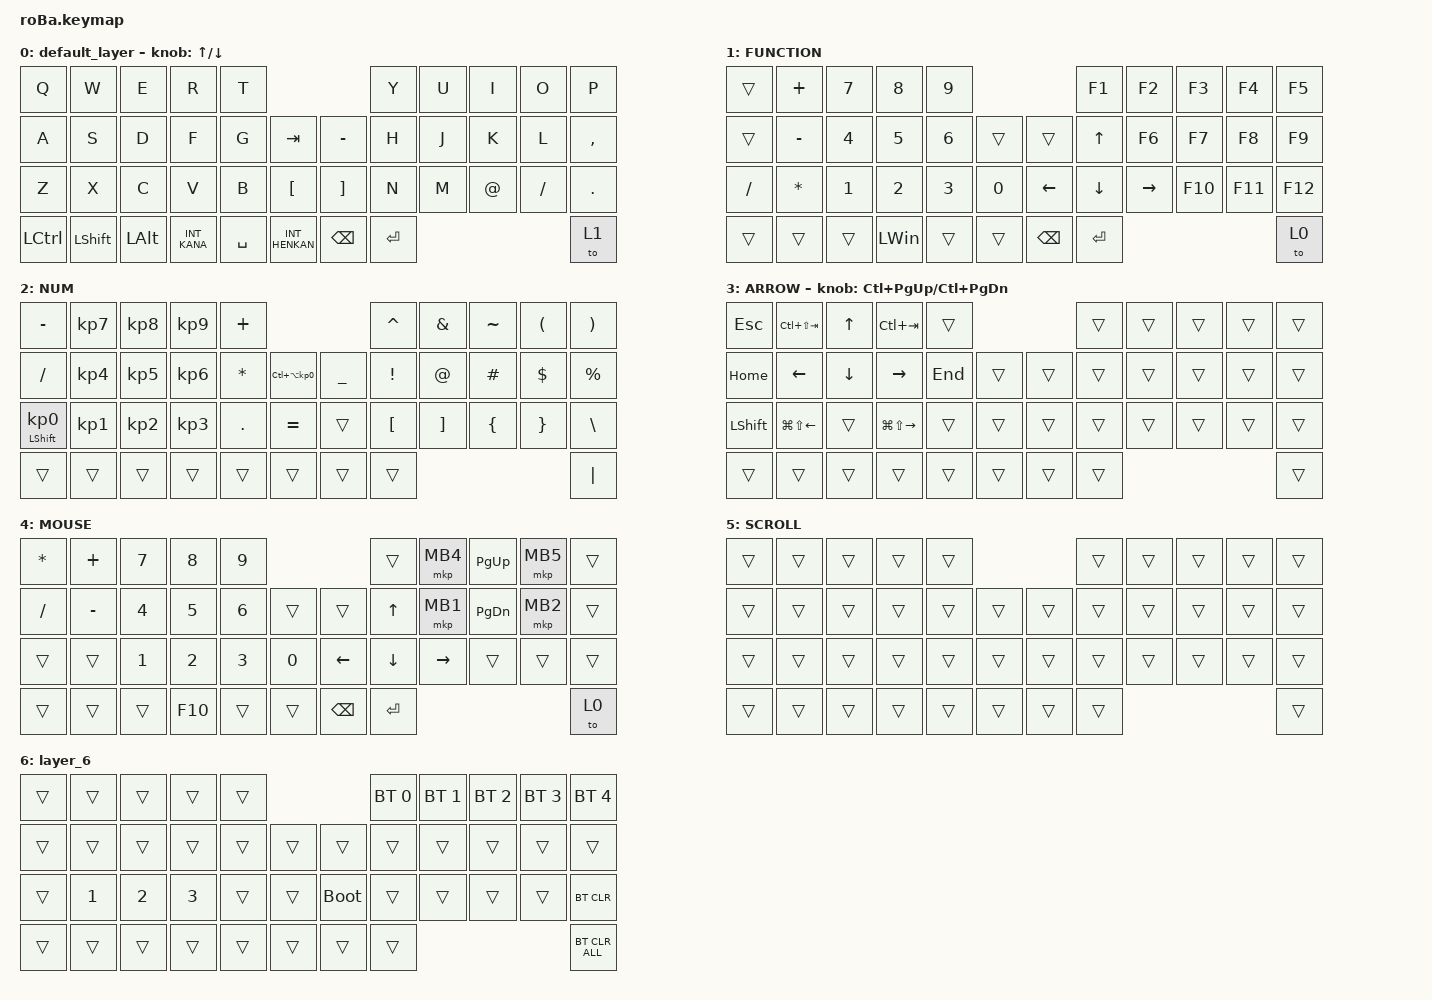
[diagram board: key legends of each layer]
#include <behaviors.dtsi>
#include <dt-bindings/zmk/bt.h>
#include <dt-bindings/zmk/keys.h>
#include <dt-bindings/zmk/pointing.h>

#define MOUSE 4
#define SCROLL 5
#define NUM 6

&mt {
    flavor = "balanced";
    quick-tap-ms = <0>;
};

/ {
    combos {
        compatible = "zmk,combos";

        tab {
            bindings = <&kp TAB>;
            key-positions = <11 12>;
        };

        shift_tab {
            bindings = <&kp LS(TAB)>;
            key-positions = <12 13>;
        };

        muhennkann {
            bindings = <&to_layer_0 INT_MUHENKAN>;
            key-positions = <11 10>;
        };

        double_quotation {
            bindings = <&kp DOUBLE_QUOTES>;
            key-positions = <20 21>;
        };

        eq {
            bindings = <&kp EQUAL>;
            key-positions = <24 25>;
        };
    };

    macros {
        to_layer_0: to_layer_0 {
            compatible = "zmk,behavior-macro-one-param";
            #binding-cells = <1>;
            bindings = <&to 0 &macro_param_1to1 &kp MACRO_PLACEHOLDER>;
            label = "TO_LAYER_0";
        };
    };

    behaviors {
        lt_to_layer_0: lt_to_layer_0 {
            compatible = "zmk,behavior-hold-tap";
            label = "LAYER_TAP_TO_0";
            bindings = <&mo>, <&to_layer_0>;

            #binding-cells = <2>;
            tapping-term-ms = <200>;
        };
    };

    keymap {
        compatible = "zmk,keymap";

        default_layer {
            bindings = <
&kp Q             &kp W           &kp E         &kp R         &kp T                                               &kp Y      &kp U  &kp I   &kp O      &kp P
&kp A             &kp S           &kp D         &kp F         &kp G      &kp TAB               &kp MINUS          &kp H      &kp J  &kp K   &kp L      &kp COMMA
&kp Z             &kp X           &kp C         &kp V         &kp B      &kp LEFT_BRACKET      &kp RIGHT_BRACKET  &kp N      &kp M  &kp AT  &kp SLASH  &kp PERIOD
&kp LEFT_CONTROL  &kp LEFT_SHIFT  &kp LEFT_ALT  &kp INT_KANA  &kp SPACE  &kp INT_HENKAN        &kp BACKSPACE      &kp ENTER                            &to 1
            >;

            sensor-bindings = <&inc_dec_kp UP_ARROW DOWN>;
        };

        FUNCTION {
            bindings = <
&trans     &kp PLUS   &kp N7        &kp N8        &kp N9                                   &kp F1        &kp F2     &kp F3   &kp F4   &kp F5
&trans     &kp MINUS  &kp NUMBER_4  &kp N5        &kp N6        &trans      &trans         &kp UP_ARROW  &kp F6     &kp F7   &kp F8   &kp F9
&kp SLASH  &kp ASTRK  &kp NUMBER_1  &kp NUMBER_2  &kp NUMBER_3  &kp N0      &kp LEFT       &kp DOWN      &kp RIGHT  &kp F10  &kp F11  &kp F12
&trans     &trans     &trans        &kp LEFT_WIN  &trans        &trans      &kp BACKSPACE  &kp ENTER                                  &to 0
            >;
        };

        NUM {
            bindings = <
&kp MINUS                   &kp KP_NUMBER_7  &kp KP_NUMBER_8  &kp KP_NUMBER_9  &kp PLUS                                                   &kp CARET         &kp AMPERSAND      &kp TILDE       &kp LEFT_PARENTHESIS  &kp RIGHT_PARENTHESIS
&kp SLASH                   &kp KP_NUMBER_4  &kp KP_NUMBER_5  &kp KP_NUMBER_6  &kp ASTERISK  &kp LC(LA(KP_NUMBER_0))      &kp UNDERSCORE  &kp EXCLAMATION   &kp AT_SIGN        &kp HASH        &kp DOLLAR            &kp PERCENT
&mt LEFT_SHIFT KP_NUMBER_0  &kp KP_NUMBER_1  &kp KP_NUMBER_2  &kp KP_NUMBER_3  &kp PERIOD    &kp EQUAL                    &trans          &kp LEFT_BRACKET  &kp RIGHT_BRACKET  &kp LEFT_BRACE  &kp RIGHT_BRACE       &kp BACKSLASH
&trans                      &trans           &trans           &trans           &trans        &trans                       &trans          &trans                                                                     &kp PIPE
            >;
        };

        ARROW {
            bindings = <
&kp ESCAPE      &kp LC(LS(TAB))         &kp UP_ARROW    &kp LC(TAB)              &trans                       &trans  &trans  &trans  &trans  &trans
&kp HOME        &kp LEFT_ARROW          &kp DOWN_ARROW  &kp RIGHT_ARROW          &kp END  &trans      &trans  &trans  &trans  &trans  &trans  &trans
&kp LEFT_SHIFT  &kp LG(LS(LEFT_ARROW))  &trans          &kp LG(LS(RIGHT_ARROW))  &trans   &trans      &trans  &trans  &trans  &trans  &trans  &trans
&trans          &trans                  &trans          &trans                   &trans   &trans      &trans  &trans                          &trans
            >;

            sensor-bindings = <&inc_dec_kp LC(PAGE_UP) LC(PAGE_DOWN)>;
        };

        MOUSE {
            bindings = <
&kp ASTRK  &kp PLUS   &kp N7        &kp N8        &kp N9                                   &trans        &mkp MB4   &kp PAGE_UP    &mkp MB5  &trans
&kp SLASH  &kp MINUS  &kp NUMBER_4  &kp N5        &kp NUMBER_6  &trans      &trans         &kp UP_ARROW  &mkp MB1   &kp PAGE_DOWN  &mkp MB2  &trans
&trans     &trans     &kp NUMBER_1  &kp NUMBER_2  &kp NUMBER_3  &kp N0      &kp LEFT       &kp DOWN      &kp RIGHT  &trans         &trans    &trans
&trans     &trans     &trans        &kp F10       &trans        &trans      &kp BACKSPACE  &kp ENTER                                         &to 0
            >;
        };

        SCROLL {
            bindings = <
&trans  &trans  &trans  &trans  &trans                      &trans  &trans  &trans  &trans  &trans
&trans  &trans  &trans  &trans  &trans  &trans      &trans  &trans  &trans  &trans  &trans  &trans
&trans  &trans  &trans  &trans  &trans  &trans      &trans  &trans  &trans  &trans  &trans  &trans
&trans  &trans  &trans  &trans  &trans  &trans      &trans  &trans                          &trans
            >;
        };

        layer_6 {
            bindings = <
&trans  &trans        &trans        &trans        &trans                           &bt BT_SEL 0  &bt BT_SEL 1  &bt BT_SEL 2  &bt BT_SEL 3  &bt BT_SEL 4
&trans  &trans        &trans        &trans        &trans  &trans      &trans       &trans        &trans        &trans        &trans        &trans
&trans  &kp NUMBER_1  &kp NUMBER_2  &kp NUMBER_3  &trans  &trans      &bootloader  &trans        &trans        &trans        &trans        &bt BT_CLR
&trans  &trans        &trans        &trans        &trans  &trans      &trans       &trans                                                  &bt BT_CLR_ALL
            >;
        };
    };
};
